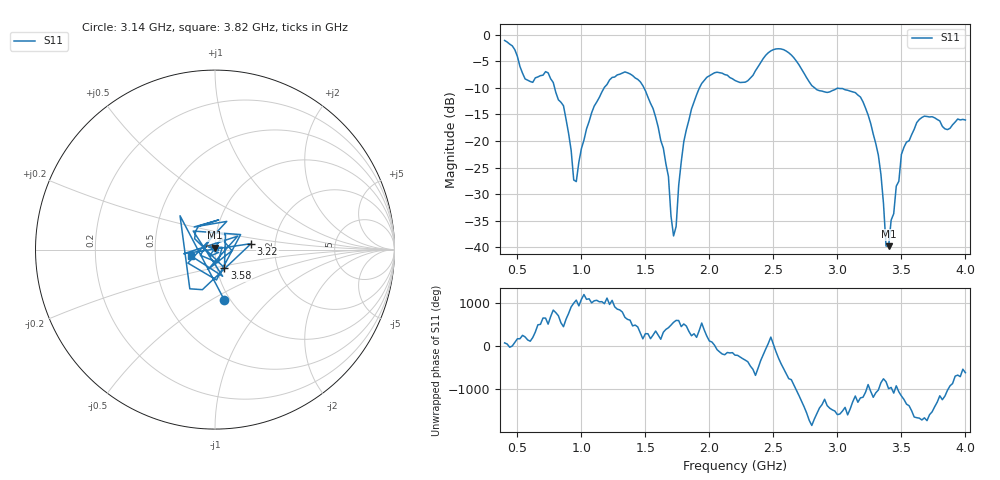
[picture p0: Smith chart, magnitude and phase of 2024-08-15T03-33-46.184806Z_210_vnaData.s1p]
!Created with skrf (http://scikit-rf.org).
# Hz S RI R 50.0
!freq ReS11 ImS11
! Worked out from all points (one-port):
!   181 points, 400 MHz to 4 GHz, reference 50 ohm
!   lowest |S11| = -39.8 dB at 3.4 GHz (marker M1), VSWR 1.02, Z = 50 + j1.02 ohm
!   |S11| at or under -10 dB: 791 MHz to 1.177 GHz (386.3 MHz wide, 39.3 % of centre); 1.489 GHz to 1.922 GHz (432.9 MHz wide, 25.4 % of centre); 2.823 GHz to end of sweep
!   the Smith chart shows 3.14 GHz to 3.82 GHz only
!   S11 on the Smith chart (normalised r, x): 3.14 GHz: 0.94, -0.57; 3.22 GHz: 1.50, +0.10; 3.58 GHz: 1.09, -0.22; 3.82 GHz: 0.76, -0.06
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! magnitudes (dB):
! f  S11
! 400 MHz  -1.1
! 560 MHz  -8.3
! 740 MHz  -7.2
! 860 MHz  -13.4
! 960 MHz  -27.6
! 1.1 GHz  -13.4
! 1.3 GHz  -7.4
! 1.56 GHz  -13.9
! 1.68 GHz  -26.7
! 1.72 GHz  -37.9
! 1.76 GHz  -28.4
! 1.82 GHz  -17.9
! 1.94 GHz  -9.2
! 2.2 GHz  -8.6
! 2.5 GHz  -2.8
! 2.66 GHz  -4.3
! 2.84 GHz  -10.3
! 3.1 GHz  -10.6
! 3.14 GHz  -10.9
! 3.22 GHz  -13.8
! 3.32 GHz  -22.7
! 3.38 GHz  -39.8
! 3.4 GHz  -39.8
! 3.5 GHz  -22.5
! 3.56 GHz  -20.0
! 3.58 GHz  -18.8
! 3.82 GHz  -17.2
! 4 GHz  -16.0
